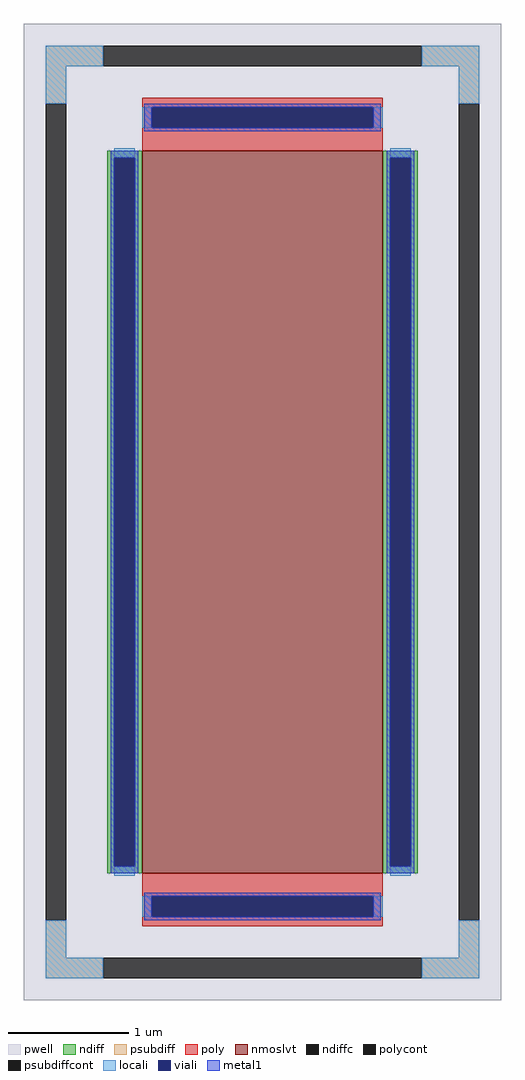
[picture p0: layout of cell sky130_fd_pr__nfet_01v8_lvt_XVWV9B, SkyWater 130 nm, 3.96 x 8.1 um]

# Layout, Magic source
magic
tech sky130B
<< pwell >>
rect -198 -405 198 405
<< nmoslvt >>
rect -100 -300 100 300
<< ndiff >>
rect -129 294 -100 300
rect -129 -294 -123 294
rect -106 -294 -100 294
rect -129 -300 -100 -294
rect 100 294 129 300
rect 100 -294 106 294
rect 123 -294 129 294
rect 100 -300 129 -294
<< ndiffc >>
rect -123 -294 -106 294
rect 106 -294 123 294
<< psubdiff >>
rect -180 370 -132 387
rect 132 370 180 387
rect -180 339 -163 370
rect 163 339 180 370
rect -180 -370 -163 -339
rect 163 -370 180 -339
rect -180 -387 -132 -370
rect 132 -387 180 -370
<< psubdiffcont >>
rect -132 370 132 387
rect -180 -339 -163 339
rect 163 -339 180 339
rect -132 -387 132 -370
<< poly >>
rect -100 336 100 344
rect -100 319 -92 336
rect 92 319 100 336
rect -100 300 100 319
rect -100 -319 100 -300
rect -100 -336 -92 -319
rect 92 -336 100 -319
rect -100 -344 100 -336
<< polycont >>
rect -92 319 92 336
rect -92 -336 92 -319
<< locali >>
rect -180 370 -132 387
rect 132 370 180 387
rect -180 339 -163 370
rect 163 339 180 370
rect -100 319 -92 336
rect 92 319 100 336
rect -123 294 -106 302
rect -123 -302 -106 -294
rect 106 294 123 302
rect 106 -302 123 -294
rect -100 -336 -92 -319
rect 92 -336 100 -319
rect -180 -370 -163 -339
rect 163 -370 180 -339
rect -180 -387 -132 -370
rect 132 -387 180 -370
<< viali >>
rect -92 319 92 336
rect -123 -294 -106 294
rect 106 -294 123 294
rect -92 -336 92 -319
<< metal1 >>
rect -98 336 98 339
rect -98 319 -92 336
rect 92 319 98 336
rect -98 316 98 319
rect -126 294 -103 300
rect -126 -294 -123 294
rect -106 -294 -103 294
rect -126 -300 -103 -294
rect 103 294 126 300
rect 103 -294 106 294
rect 123 -294 126 294
rect 103 -300 126 -294
rect -98 -319 98 -316
rect -98 -336 -92 -319
rect 92 -336 98 -319
rect -98 -339 98 -336
<< properties >>
string FIXED_BBOX -171 -378 171 378
string gencell sky130_fd_pr__nfet_01v8_lvt
string library sky130
string parameters w 6.0 l 2.0 m 1 nf 1 diffcov 100 polycov 100 guard 1 glc 1 grc 1 gtc 1 gbc 1 tbcov 100 rlcov 100 topc 1 botc 1 poverlap 0 doverlap 1 lmin 0.15 wmin 0.42 compatible {sky130_fd_pr__nfet_01v8 sky130_fd_pr__nfet_01v8_lvt  sky130_fd_bs_flash__special_sonosfet_star  sky130_fd_pr__nfet_g5v0d10v5 sky130_fd_pr__nfet_05v0_nvt  sky130_fd_pr__nfet_03v3_nvt} full_metal 1 viasrc 100 viadrn 100 viagate 100 viagb 0 viagr 0 viagl 0 viagt 0
<< end >>
